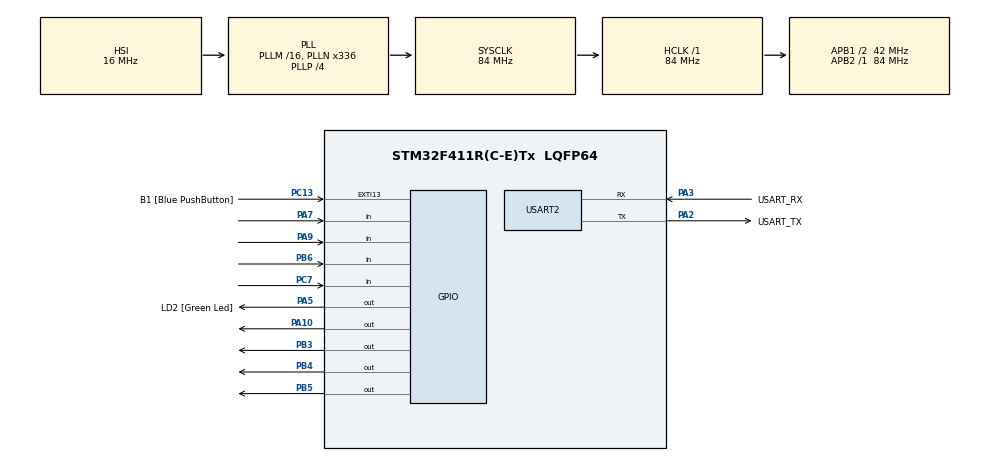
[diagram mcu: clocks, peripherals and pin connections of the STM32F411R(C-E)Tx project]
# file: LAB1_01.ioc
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Mcu.Family=STM32F4
Mcu.Name=STM32F411R(C-E)Tx
Mcu.Package=LQFP64
NVIC.PriorityGroup=NVIC_PRIORITYGROUP_0
PA10.PinState=GPIO_PIN_SET
PA10.Signal=GPIO_Output
PA13.GPIO_Label=TMS
PA13.Mode=Serial_Wire
PA13.Signal=SYS_JTMS-SWDIO
PA14.GPIO_Label=TCK
PA14.Mode=Serial_Wire
PA14.Signal=SYS_JTCK-SWCLK
PA2.GPIO_Label=USART_TX
PA2.Mode=Asynchronous
PA2.Signal=USART2_TX
PA3.GPIO_Label=USART_RX
PA3.Mode=Asynchronous
PA3.Signal=USART2_RX
PA5.GPIO_Label=LD2 [Green Led]
PA5.Signal=GPIO_Output
PA7.GPIO_PuPd=GPIO_PULLUP
PA7.Signal=GPIO_Input
PA9.GPIO_PuPd=GPIO_PULLUP
PA9.Signal=GPIO_Input
PB3.PinState=GPIO_PIN_SET
PB3.Signal=GPIO_Output
PB4.PinState=GPIO_PIN_SET
PB4.Signal=GPIO_Output
PB5.PinState=GPIO_PIN_SET
PB5.Signal=GPIO_Output
PB6.GPIO_PuPd=GPIO_PULLUP
PB6.Signal=GPIO_Input
PC13-ANTI_TAMP.GPIO_Label=B1 [Blue PushButton]
PC13-ANTI_TAMP.GPIO_ModeDefaultEXTI=GPIO_MODE_IT_FALLING
PC13-ANTI_TAMP.Signal=GPXTI13
PC14-OSC32_IN.Mode=LSE-External-Oscillator
PC14-OSC32_IN.Signal=RCC_OSC32_IN
PC15-OSC32_OUT.Mode=LSE-External-Oscillator
PC15-OSC32_OUT.Signal=RCC_OSC32_OUT
PC7.GPIO_PuPd=GPIO_PULLUP
PC7.Signal=GPIO_Input
PH0\ -\ OSC_IN.Mode=HSE-External-Clock-Source
PH0\ -\ OSC_IN.Signal=RCC_OSC_IN
PH1\ -\ OSC_OUT.Mode=HSE-External-Clock-Source
PH1\ -\ OSC_OUT.Signal=RCC_OSC_OUT
ProjectManager.HeapSize=0x200
ProjectManager.StackSize=0x400
ProjectManager.TargetToolchain=STM32CubeIDE
RCC.48MHZClocksFreq_Value=84000000
RCC.AHBFreq_Value=84000000
RCC.APB1CLKDivider=RCC_HCLK_DIV2
RCC.APB1Freq_Value=42000000
RCC.APB1TimFreq_Value=84000000
RCC.APB2Freq_Value=84000000
RCC.APB2TimFreq_Value=84000000
RCC.CortexFreq_Value=84000000
RCC.FLatency-AdvancedSettings=FLASH_LATENCY_2
RCC.HCLKFreq_Value=84000000
RCC.HSE_VALUE=8000000
RCC.HSI_VALUE=16000000
RCC.PLLN=336
RCC.PLLP=RCC_PLLP_DIV4
RCC.SYSCLKFreq_VALUE=84000000
RCC.SYSCLKSource=RCC_SYSCLKSOURCE_PLLCLK
RCC.VCOOutputFreq_Value=336000000
USART2.VirtualMode=VM_ASYNC
board=NUCLEO-F411RE

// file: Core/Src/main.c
/* USER CODE BEGIN Header */
/**
 ******************************************************************************
 * @file           : main.c
 * @brief          : Main program body
 ******************************************************************************
 * @attention
 *
 * Copyright (c) 2023 STMicroelectronics.
 * All rights reserved.
 *
 * This software is licensed under terms that can be found in the LICENSE file
 * in the root directory of this software component.
 * If no LICENSE file comes with this software, it is provided AS-IS.
 *
 ******************************************************************************
 */
/* USER CODE END Header */
#include "main.h"

UART_HandleTypeDef huart2;

/* USER CODE BEGIN PV */
struct PortPin {
	GPIO_TypeDef *PORT;
	uint16_t PIN;
};
struct PortPin R[4] =
{
      { GPIOA, GPIO_PIN_10 }, { GPIOB, GPIO_PIN_3 },
	  { GPIOB,GPIO_PIN_5 }, { GPIOB, GPIO_PIN_4 }
};

struct PortPin L[4] =
{
		{ GPIOA, GPIO_PIN_9 }, { GPIOC, GPIO_PIN_7 },
		{ GPIOB,GPIO_PIN_6 }, { GPIOA, GPIO_PIN_7 }
};

uint16_t current_state = 0;
uint16_t previous_state = 0;
uint8_t LED_state = 0;
uint16_t data_input[11];
//uint16_t data_input_index = 0;
uint16_t press_count =0;
uint8_t truth =1;

uint16_t ButtonMatrix = 0;
uint16_t expected[11] = {512,2,2048,2,4,32,4,4,4,128,2}; //64340500024

/* USER CODE END PV */

void SystemClock_Config(void);
static void MX_GPIO_Init(void);
static void MX_USART2_UART_Init(void);
/* USER CODE BEGIN PFP */
void ReadMatrixButton1Row();
//void data_memory(uint16_t data_input );
/* USER CODE END PFP */

int main(void)
{

  /* MCU Configuration--------------------------------------------------------*/

  /* Reset of all peripherals, Initializes the Flash interface and the Systick. */
  HAL_Init();

  /* Configure the system clock */
  SystemClock_Config();

  /* Initialize all configured peripherals */
  MX_GPIO_Init();
  MX_USART2_UART_Init();

  /* Infinite loop */
	while (1) {

    /* USER CODE BEGIN 3 */
		static uint32_t timestamp = 0;
		if (HAL_GetTick() >= timestamp) {
			timestamp = HAL_GetTick() + 100;
			ReadMatrixButton1Row();
			current_state = ButtonMatrix;

			if (current_state >= 1 && previous_state == 0) //1 0 rising
					{

				switch (current_state) {

				case 4096:  //CLR DATA
				truth = 1;
				LED_state =0;
				HAL_GPIO_WritePin(GPIOA, GPIO_PIN_5, LED_state);
//				data_input_index = sizeof(data_input) / sizeof(data_input[0]);
				for (int j = 0; j < press_count;j++)
				{
					data_input[j] = 0;
				}
				press_count =0;
//				data_input_index =0;
				break;

				case 8192: //BS
					if (press_count > 0){
						press_count--;
					}

				break;

				case 16384: //OK
					if (press_count == 11)
					{
						for (int i=0; i<press_count ;i++){
							if (data_input[i] != expected[i]){
								truth = 0;
							}

						}
						if (truth){
							LED_state = 1;
							HAL_GPIO_WritePin(GPIOA, GPIO_PIN_5, LED_state);

						}
					}
				break;

				default:
					if ((press_count <11) && (current_state != -32768) && (current_state !=64) && (current_state !=1024)){
						data_input[press_count] = current_state;
						press_count++;
					}

				break;
			}
		}
			previous_state = current_state;

	}
}
  /* USER CODE END 3 */
}

void SystemClock_Config(void)
{
  RCC_OscInitTypeDef RCC_OscInitStruct = {0};
  RCC_ClkInitTypeDef RCC_ClkInitStruct = {0};

  /** Configure the main internal regulator output voltage
  */
  __HAL_RCC_PWR_CLK_ENABLE();
  __HAL_PWR_VOLTAGESCALING_CONFIG(PWR_REGULATOR_VOLTAGE_SCALE1);
  /** Initializes the RCC Oscillators according to the specified parameters
  * in the RCC_OscInitTypeDef structure.
  */
  RCC_OscInitStruct.OscillatorType = RCC_OSCILLATORTYPE_HSI;
  RCC_OscInitStruct.HSIState = RCC_HSI_ON;
  RCC_OscInitStruct.HSICalibrationValue = RCC_HSICALIBRATION_DEFAULT;
  RCC_OscInitStruct.PLL.PLLState = RCC_PLL_ON;
  RCC_OscInitStruct.PLL.PLLSource = RCC_PLLSOURCE_HSI;
  RCC_OscInitStruct.PLL.PLLM = 16;
  RCC_OscInitStruct.PLL.PLLN = 336;
  RCC_OscInitStruct.PLL.PLLP = RCC_PLLP_DIV4;
  RCC_OscInitStruct.PLL.PLLQ = 4;
  if (HAL_RCC_OscConfig(&RCC_OscInitStruct) != HAL_OK)
  {
    Error_Handler();
  }
  /** Initializes the CPU, AHB and APB buses clocks
  */
  RCC_ClkInitStruct.ClockType = RCC_CLOCKTYPE_HCLK|RCC_CLOCKTYPE_SYSCLK
                              |RCC_CLOCKTYPE_PCLK1|RCC_CLOCKTYPE_PCLK2;
  RCC_ClkInitStruct.SYSCLKSource = RCC_SYSCLKSOURCE_PLLCLK;
  RCC_ClkInitStruct.AHBCLKDivider = RCC_SYSCLK_DIV1;
  RCC_ClkInitStruct.APB1CLKDivider = RCC_HCLK_DIV2;
  RCC_ClkInitStruct.APB2CLKDivider = RCC_HCLK_DIV1;

  if (HAL_RCC_ClockConfig(&RCC_ClkInitStruct, FLASH_LATENCY_2) != HAL_OK)
  {
    Error_Handler();
  }
}

static void MX_USART2_UART_Init(void)
{

  huart2.Instance = USART2;
  huart2.Init.BaudRate = 115200;
  huart2.Init.WordLength = UART_WORDLENGTH_8B;
  huart2.Init.StopBits = UART_STOPBITS_1;
  huart2.Init.Parity = UART_PARITY_NONE;
  huart2.Init.Mode = UART_MODE_TX_RX;
  huart2.Init.HwFlowCtl = UART_HWCONTROL_NONE;
  huart2.Init.OverSampling = UART_OVERSAMPLING_16;
  if (HAL_UART_Init(&huart2) != HAL_OK)
  {
    Error_Handler();
  }

}

static void MX_GPIO_Init(void)
{
  GPIO_InitTypeDef GPIO_InitStruct = {0};

  /* GPIO Ports Clock Enable */
  __HAL_RCC_GPIOC_CLK_ENABLE();
  __HAL_RCC_GPIOH_CLK_ENABLE();
  __HAL_RCC_GPIOA_CLK_ENABLE();
  __HAL_RCC_GPIOB_CLK_ENABLE();

  /*Configure GPIO pin Output Level */
  HAL_GPIO_WritePin(LD2_GPIO_Port, LD2_Pin, GPIO_PIN_RESET);

  /*Configure GPIO pin Output Level */
  HAL_GPIO_WritePin(GPIOA, GPIO_PIN_10, GPIO_PIN_SET);

  /*Configure GPIO pin Output Level */
  HAL_GPIO_WritePin(GPIOB, GPIO_PIN_3|GPIO_PIN_4|GPIO_PIN_5, GPIO_PIN_SET);

  /*Configure GPIO pin : B1_Pin */
  GPIO_InitStruct.Pin = B1_Pin;
  GPIO_InitStruct.Mode = GPIO_MODE_IT_FALLING;
  GPIO_InitStruct.Pull = GPIO_NOPULL;
  HAL_GPIO_Init(B1_GPIO_Port, &GPIO_InitStruct);

  /*Configure GPIO pins : LD2_Pin PA10 */
  GPIO_InitStruct.Pin = LD2_Pin|GPIO_PIN_10;
  GPIO_InitStruct.Mode = GPIO_MODE_OUTPUT_PP;
  GPIO_InitStruct.Pull = GPIO_NOPULL;
  GPIO_InitStruct.Speed = GPIO_SPEED_FREQ_LOW;
  HAL_GPIO_Init(GPIOA, &GPIO_InitStruct);

  /*Configure GPIO pins : PA7 PA9 */
  GPIO_InitStruct.Pin = GPIO_PIN_7|GPIO_PIN_9;
  GPIO_InitStruct.Mode = GPIO_MODE_INPUT;
  GPIO_InitStruct.Pull = GPIO_PULLUP;
  HAL_GPIO_Init(GPIOA, &GPIO_InitStruct);

  /*Configure GPIO pin : PC7 */
  GPIO_InitStruct.Pin = GPIO_PIN_7;
  GPIO_InitStruct.Mode = GPIO_MODE_INPUT;
  GPIO_InitStruct.Pull = GPIO_PULLUP;
  HAL_GPIO_Init(GPIOC, &GPIO_InitStruct);

  /*Configure GPIO pins : PB3 PB4 PB5 */
  GPIO_InitStruct.Pin = GPIO_PIN_3|GPIO_PIN_4|GPIO_PIN_5;
  GPIO_InitStruct.Mode = GPIO_MODE_OUTPUT_PP;
  GPIO_InitStruct.Pull = GPIO_NOPULL;
  GPIO_InitStruct.Speed = GPIO_SPEED_FREQ_LOW;
  HAL_GPIO_Init(GPIOB, &GPIO_InitStruct);

  /*Configure GPIO pin : PB6 */
  GPIO_InitStruct.Pin = GPIO_PIN_6;
  GPIO_InitStruct.Mode = GPIO_MODE_INPUT;
  GPIO_InitStruct.Pull = GPIO_PULLUP;
  HAL_GPIO_Init(GPIOB, &GPIO_InitStruct);

}

/* USER CODE BEGIN 4 */
void ReadMatrixButton1Row() {
	static uint8_t X = 0;
	register int i;
	for (i = 0; i < 4; i++) {
		if (HAL_GPIO_ReadPin(L[i].PORT, L[i].PIN) == 1) {
			ButtonMatrix &= ~(1 << (X * 4 + i));
			//  x = 0 , i = 0 -> 0
		} else {
			ButtonMatrix |= 1 << (X * 4 + i);
		}
	}
	// SET RX
	HAL_GPIO_WritePin(R[X].PORT, R[X].PIN, 1);
	// RESET RX+1%4
	HAL_GPIO_WritePin(R[(X + 1) % 4].PORT, R[(X + 1) % 4].PIN, 0);
	X++;
	X %= 4;
}

/* USER CODE END 4 */

void Error_Handler(void)
{
	__disable_irq();
	while (1) {
	}
}

/************************ (C) COPYRIGHT STMicroelectronics *****END OF FILE****/
